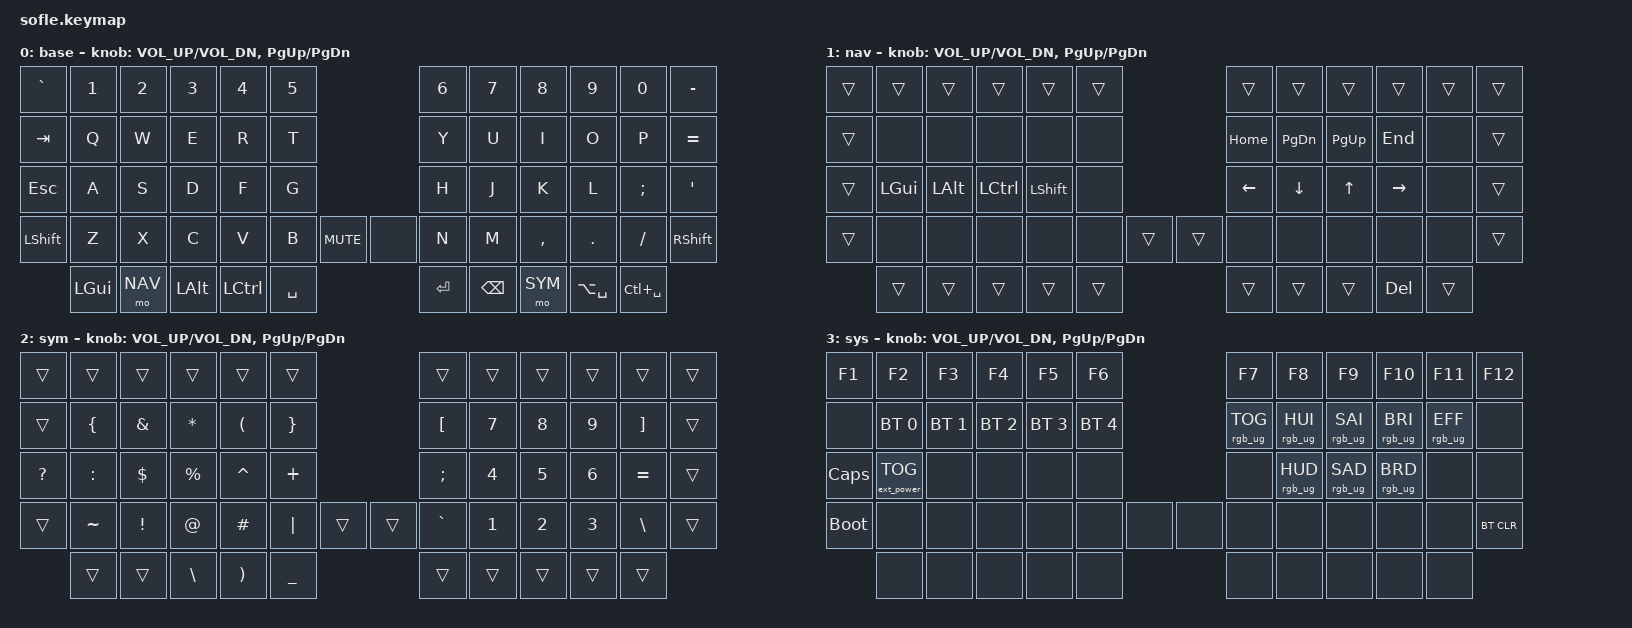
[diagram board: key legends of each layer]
/*
 * Neovim-oriented, Miryoku-inspired Sofle keymap (v1, conservative). Layout rationale: docs/LAYOUT.md
 * The seller's original is kept in docs/reference/sofle.keymap.seller (and git tag baseline-upstream-bbd2a24).
 *
 * v1 rules: QWERTY, native hjkl, number row kept, NO hold-taps / combos / home-row mods, so Vim sequences
 * (dd, ciw, gg, Ctrl-w) behave like on a plain keyboard.
 */

#include <behaviors.dtsi>
#include <dt-bindings/zmk/bt.h>
#include <dt-bindings/zmk/ext_power.h>
#include <dt-bindings/zmk/keys.h>
#include <dt-bindings/zmk/rgb.h>

#define BASE 0
#define NAV 1
#define SYM 2
#define SYS 3

/ {
    // Hold NAV (left thumb) + SYM (right thumb) together to get SYS (function keys, Bluetooth, RGB, recovery)

    conditional_layers {
        compatible = "zmk,conditional-layers";

        sys_trigger {
            if-layers = <NAV SYM>;
            then-layer = <SYS>;
        };
    };

    keymap {
        compatible = "zmk,keymap";

        base_layer {
            display-name = "base";

            // ----------------------------------------------------------------------------------------------------
            // |  `   |  1   |  2   |  3   |  4   |  5   |              |  6   |  7   |  8   |  9   |  0   |  -   |
            // | TAB  |  Q   |  W   |  E   |  R   |  T   |              |  Y   |  U   |  I   |  O   |  P   |  =   |
            // | ESC  |  A   |  S   |  D   |  F   |  G   |              |  H   |  J   |  K   |  L   |  ;   |  '   |
            // |SHIFT |  Z   |  X   |  C   |  V   |  B   | MUTE |      |  N   |  M   |  ,   |  .   |  /   |SHIFT |
            //        | GUI  | NAV  | ALT  | CTRL |SPACE |              |ENTER | BSPC | SYM  |RAYCST|INPUT |

            bindings = <
&kp GRAVE   &kp N1      &kp N2      &kp N3      &kp N4      &kp N5                              &kp N6      &kp N7      &kp N8      &kp N9      &kp N0      &kp MINUS
&kp TAB     &kp Q       &kp W       &kp E       &kp R       &kp T                               &kp Y       &kp U       &kp I       &kp O       &kp P       &kp EQUAL
&kp ESC     &kp A       &kp S       &kp D       &kp F       &kp G                               &kp H       &kp J       &kp K       &kp L       &kp SEMI    &kp SQT
&kp LSHFT   &kp Z       &kp X       &kp C       &kp V       &kp B       &kp C_MUTE  &none       &kp N       &kp M       &kp COMMA   &kp DOT     &kp FSLH    &kp RSHFT
            &kp LGUI    &mo NAV     &kp LALT    &kp LCTRL   &kp SPACE                           &kp ENTER   &kp BSPC    &mo SYM     &kp LA(SPACE) &kp LC(SPACE)
            >;

            sensor-bindings = <&inc_dec_kp C_VOL_UP C_VOL_DN &inc_dec_kp PG_UP PG_DN>;
        };

        nav_layer {
            display-name = "nav";

            // Hold left-thumb NAV. Right hand: arrows on h j k l, paging on the row above.
            // Left home row: plain GUI/ALT/CTRL/SHIFT (hold one, press an arrow). '.' = passes through to base, blank = disabled.
            // ----------------------------------------------------------------------------------------------------
            // |  .   |  .   |  .   |  .   |  .   |  .   |              |  .   |  .   |  .   |  .   |  .   |  .   |
            // |  .   |      |      |      |      |      |              | HOME | PGDN | PGUP | END  |      |  .   |
            // |  .   | GUI  | ALT  | CTRL |SHIFT |      |              |  <-  |  v   |  ^   |  ->  |      |  .   |
            // |  .   |      |      |      |      |      |  .   |  .   |      |      |      |      |      |  .   |
            //        |  .   |  .   |  .   |  .   |  .   |              |  .   |  .   |  .   | DEL  |  .   |

            bindings = <
&trans     &trans     &trans     &trans     &trans     &trans                           &trans     &trans     &trans     &trans     &trans     &trans
&trans     &none      &none      &none      &none      &none                            &kp HOME   &kp PG_DN  &kp PG_UP  &kp END    &none      &trans
&trans     &kp LGUI   &kp LALT   &kp LCTRL  &kp LSHFT  &none                            &kp LEFT   &kp DOWN   &kp UP     &kp RIGHT  &none      &trans
&trans     &none      &none      &none      &none      &none      &trans     &trans     &none      &none      &none      &none      &none      &trans
           &trans     &trans     &trans     &trans     &trans                           &trans     &trans     &trans     &kp DEL    &trans
            >;

            sensor-bindings = <&inc_dec_kp C_VOL_UP C_VOL_DN &inc_dec_kp PG_UP PG_DN>;
        };

        sym_layer {
            display-name = "sym";

            // Hold right-thumb SYM. Left hand = Miryoku symbols (the *shifted* numpad block), right hand = the same
            // block *unshifted* (digits + [ ] ; = \ `). Left thumbs: ) and _ . '.' = passes through to base, blank = disabled.
            // ----------------------------------------------------------------------------------------------------
            // |  .   |  .   |  .   |  .   |  .   |  .   |              |  .   |  .   |  .   |  .   |  .   |  .   |
            // |  .   |  {   |  &   |  *   |  (   |  }   |              |  [   |  7   |  8   |  9   |  ]   |  .   |
            // |  ?   |  :   |  $   |  %   |  ^   |  +   |              |  ;   |  4   |  5   |  6   |  =   |  .   |
            // |  .   |  ~   |  !   |  @   |  #   |  |   |  .   |  .   |  `   |  1   |  2   |  3   |  \   |  .   |
            //        |  .   |  .   |  \   |  )   |  _   |              |  .   |  .   |  .   |  .   |  .   |

            bindings = <
&trans     &trans     &trans     &trans     &trans     &trans                           &trans     &trans     &trans     &trans     &trans     &trans
&trans     &kp LBRC   &kp AMPS   &kp STAR   &kp LPAR   &kp RBRC                         &kp LBKT   &kp N7     &kp N8     &kp N9     &kp RBKT   &trans
&kp QMARK  &kp COLON  &kp DLLR   &kp PRCNT  &kp CARET  &kp PLUS                         &kp SEMI   &kp N4     &kp N5     &kp N6     &kp EQUAL  &trans
&trans     &kp TILDE  &kp EXCL   &kp AT     &kp HASH   &kp PIPE   &trans     &trans     &kp GRAVE  &kp N1     &kp N2     &kp N3     &kp BSLH   &trans
           &trans     &trans     &kp BSLH   &kp RPAR   &kp UNDER                        &trans     &trans     &trans     &trans     &trans
            >;

            sensor-bindings = <&inc_dec_kp C_VOL_UP C_VOL_DN &inc_dec_kp PG_UP PG_DN>;
        };

        sys_layer {
            display-name = "sys";

            // NAV + SYM held together. F-keys on the number row, Bluetooth profiles, RGB / external power, and two recovery
            // keys in the bottom corners (hard to hit by accident):
            //   BOOT  = enter the UF2 bootloader on the half whose key you press (same as double-tapping reset)
            //   BTCLR = clear ONLY the currently selected Bluetooth profile's bond
            // ----------------------------------------------------------------------------------------------------
            // |  F1  |  F2  |  F3  |  F4  |  F5  |  F6  |              |  F7  |  F8  |  F9  | F10  | F11  | F12  |
            // |      | BT0  | BT1  | BT2  | BT3  | BT4  |              | RGB  | HUI  | SAI  | BRI  | EFF  |      |
            // | CAPS |EXTPW |      |      |      |      |              |      | HUD  | SAD  | BRD  |      |      |
            // | BOOT |      |      |      |      |      |      |      |      |      |      |      |      |BTCLR |
            //        |      |      |      |      |      |              |      |      |      |      |      |

            bindings = <
&kp F1             &kp F2             &kp F3             &kp F4             &kp F5             &kp F6                                                   &kp F7             &kp F8             &kp F9             &kp F10            &kp F11            &kp F12
&none              &bt BT_SEL 0       &bt BT_SEL 1       &bt BT_SEL 2       &bt BT_SEL 3       &bt BT_SEL 4                                             &rgb_ug RGB_TOG    &rgb_ug RGB_HUI    &rgb_ug RGB_SAI    &rgb_ug RGB_BRI    &rgb_ug RGB_EFF    &none
&kp CAPS           &ext_power EP_TOG  &none              &none              &none              &none                                                    &none              &rgb_ug RGB_HUD    &rgb_ug RGB_SAD    &rgb_ug RGB_BRD    &none              &none
&bootloader        &none              &none              &none              &none              &none              &none              &none              &none              &none              &none              &none              &none              &bt BT_CLR
                   &none              &none              &none              &none              &none                                                    &none              &none              &none              &none              &none
            >;

            sensor-bindings = <&inc_dec_kp C_VOL_UP C_VOL_DN &inc_dec_kp PG_UP PG_DN>;
        };
    };
};
